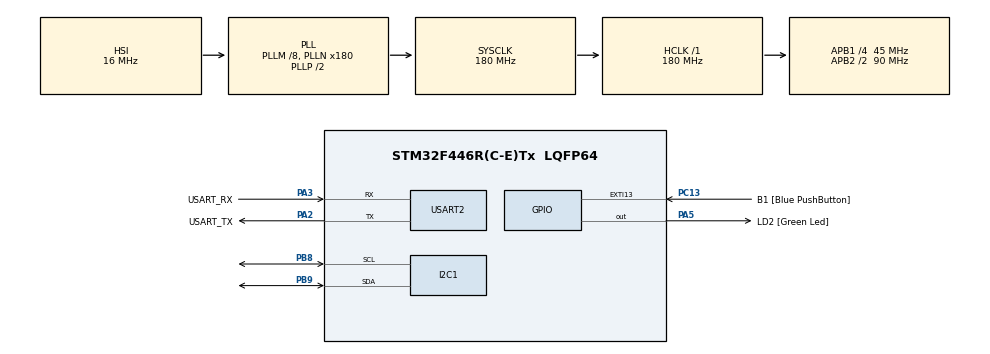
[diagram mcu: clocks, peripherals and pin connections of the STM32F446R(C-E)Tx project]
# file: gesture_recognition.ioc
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Mcu.Family=STM32F4
Mcu.Name=STM32F446R(C-E)Tx
Mcu.Package=LQFP64
NVIC.PriorityGroup=NVIC_PRIORITYGROUP_0
PA13.GPIO_Label=TMS
PA13.Mode=Serial_Wire
PA13.Signal=SYS_JTMS-SWDIO
PA14.GPIO_Label=TCK
PA14.Mode=Serial_Wire
PA14.Signal=SYS_JTCK-SWCLK
PA2.GPIO_Label=USART_TX
PA2.Mode=Asynchronous
PA2.Signal=USART2_TX
PA3.GPIO_Label=USART_RX
PA3.Mode=Asynchronous
PA3.Signal=USART2_RX
PA5.GPIO_Label=LD2 [Green Led]
PA5.Signal=GPIO_Output
PB3.GPIO_Label=SWO
PB3.Signal=SYS_JTDO-SWO
PB8.Mode=I2C
PB8.Signal=I2C1_SCL
PB9.Mode=I2C
PB9.Signal=I2C1_SDA
PC13.GPIO_Label=B1 [Blue PushButton]
PC13.GPIO_ModeDefaultEXTI=GPIO_MODE_IT_FALLING
PC13.Signal=GPXTI13
PC14-OSC32_IN.Mode=LSE-External-Oscillator
PC14-OSC32_IN.Signal=RCC_OSC32_IN
PC15-OSC32_OUT.Mode=LSE-External-Oscillator
PC15-OSC32_OUT.Signal=RCC_OSC32_OUT
PH0-OSC_IN.Mode=HSE-External-Oscillator
PH0-OSC_IN.Signal=RCC_OSC_IN
PH1-OSC_OUT.Mode=HSE-External-Oscillator
PH1-OSC_OUT.Signal=RCC_OSC_OUT
ProjectManager.HeapSize=0x800
ProjectManager.StackSize=0x800
ProjectManager.TargetToolchain=STM32CubeIDE
RCC.48MHZClocksFreq_Value=84000000
RCC.AHBFreq_Value=180000000
RCC.APB1CLKDivider=RCC_HCLK_DIV4
RCC.APB1Freq_Value=45000000
RCC.APB1TimFreq_Value=90000000
RCC.APB2CLKDivider=RCC_HCLK_DIV2
RCC.APB2Freq_Value=90000000
RCC.APB2TimFreq_Value=180000000
RCC.CortexFreq_Value=180000000
RCC.FLatency-AdvancedSettings=FLASH_LATENCY_5
RCC.HCLKFreq_Value=180000000
RCC.HSE_VALUE=8000000
RCC.HSI_VALUE=16000000
RCC.PLLM=8
RCC.PLLN=180
RCC.PLLP=2
RCC.SYSCLKFreq_VALUE=180000000
RCC.SYSCLKSource=RCC_SYSCLKSOURCE_PLLCLK
RCC.USBFreq_Value=180000000
RCC.VCOOutputFreq_Value=360000000
STMicroelectronics.X-CUBE-AI.10.1.0.ActivationBufferSizeList=19736
STMicroelectronics.X-CUBE-AI.10.1.0.ActivationBuffers=pool0
STMicroelectronics.X-CUBE-AI.10.1.0.ActivationNames=pool0
STMicroelectronics.X-CUBE-AI.10.1.0.ActivationSizes=AI_GESTURE_DATA_ACTIVATION_1_SIZE
STMicroelectronics.X-CUBE-AI.10.1.0.HeapSize=0x800
STMicroelectronics.X-CUBE-AI.10.1.0.InternalRamActivationBufferMaxSize=AI_GESTURE_DATA_ACTIVATIONS_SIZE
STMicroelectronics.X-CUBE-AI.10.1.0.LatestDirectoryUsed-5c917a937169decd265ed04026a5e16f269bac281c2936fda5729b337dda7706=C\:\\Users\\Maria\\Desktop\\datasets
STMicroelectronics.X-CUBE-AI.10.1.0.MaximumNumberOfInputLayer=1
STMicroelectronics.X-CUBE-AI.10.1.0.MaximumNumberOfOutputLayer=1
STMicroelectronics.X-CUBE-AI.10.1.0.MaximumSizeOfInputLayer=1
STMicroelectronics.X-CUBE-AI.10.1.0.MaximumSizeOfOutputLayer=1
STMicroelectronics.X-CUBE-AI.10.1.0.ModelActualCompression-5c917a937169decd265ed04026a5e16f269bac281c2936fda5729b337dda7706=0.0
STMicroelectronics.X-CUBE-AI.10.1.0.ModelCompression-5c917a937169decd265ed04026a5e16f269bac281c2936fda5729b337dda7706=High
STMicroelectronics.X-CUBE-AI.10.1.0.ModelFlashOccupation-5c917a937169decd265ed04026a5e16f269bac281c2936fda5729b337dda7706=270268
STMicroelectronics.X-CUBE-AI.10.1.0.ModelHashList=5c917a937169decd265ed04026a5e16f269bac281c2936fda5729b337dda7706
STMicroelectronics.X-CUBE-AI.10.1.0.ModelKind-5c917a937169decd265ed04026a5e16f269bac281c2936fda5729b337dda7706=TFLITE
STMicroelectronics.X-CUBE-AI.10.1.0.ModelMacc-5c917a937169decd265ed04026a5e16f269bac281c2936fda5729b337dda7706=1068240
STMicroelectronics.X-CUBE-AI.10.1.0.ModelName-5c917a937169decd265ed04026a5e16f269bac281c2936fda5729b337dda7706=gesture
STMicroelectronics.X-CUBE-AI.10.1.0.ModelName-bb4085319f49e8e8c2e08a9e334305b9258747b610665fc9e314a9e2cb993c11=network
STMicroelectronics.X-CUBE-AI.10.1.0.ModelNameList=gesture
STMicroelectronics.X-CUBE-AI.10.1.0.ModelRamOccupation-5c917a937169decd265ed04026a5e16f269bac281c2936fda5729b337dda7706=19736
STMicroelectronics.X-CUBE-AI.10.1.0.ModelStructureFile-5c917a937169decd265ed04026a5e16f269bac281c2936fda5729b337dda7706=C\:\\Users\\Maria\\Desktop\\datasets\\digits_model_5_types_20250626_215648.tflite
STMicroelectronics.X-CUBE-AI.10.1.0.ModelType-5c917a937169decd265ed04026a5e16f269bac281c2936fda5729b337dda7706=STM32Cube.AI MCU runtime
STMicroelectronics.X-CUBE-AI.10.1.0.ReadyForCodeGeneration=false
STMicroelectronics.X-CUBE-AI.10.1.0.StackSize=0x800
STMicroelectronics.X-CUBE-AI.10.1.0.WorkingBufferStartAddrList=0xFFFFFFFF
STMicroelectronics.X-CUBE-AI.10.1.0.XAaCUBEAaAICcArtificialOoIntelligenceJjCore=true
STMicroelectronics.X-CUBE-AI.10.1.0.copyWeightToRam=false
STMicroelectronics.X-CUBE-AI.10.1.0.copyWeightToRam-5c917a937169decd265ed04026a5e16f269bac281c2936fda5729b337dda7706=false
STMicroelectronics.X-CUBE-AI.10.1.0.customLayerConfigEnabled=false
STMicroelectronics.X-CUBE-AI.10.1.0.customLayerConfigEnabled-5c917a937169decd265ed04026a5e16f269bac281c2936fda5729b337dda7706=false
STMicroelectronics.X-CUBE-AI.10.1.0.noOnnxIoTranspose=false
STMicroelectronics.X-CUBE-AI.10.1.0.noOnnxIoTranspose-5c917a937169decd265ed04026a5e16f269bac281c2936fda5729b337dda7706=false
STMicroelectronics.X-CUBE-AI.10.1.0.optimization=ram
STMicroelectronics.X-CUBE-AI.10.1.0.useInputAllocation=true
STMicroelectronics.X-CUBE-AI.10.1.0.useInputAllocation-5c917a937169decd265ed04026a5e16f269bac281c2936fda5729b337dda7706=true
STMicroelectronics.X-CUBE-AI.10.1.0.useOutputAllocation=true
STMicroelectronics.X-CUBE-AI.10.1.0.useOutputAllocation-5c917a937169decd265ed04026a5e16f269bac281c2936fda5729b337dda7706=true
USART2.VirtualMode=VM_ASYNC
VP_STMicroelectronics.X-CUBE-AI_VS_ArtificialOoIntelligenceJjXAaCUBEAaAI_10.1.0.Mode=ArtificialOoIntelligenceJjXAaCUBEAaAI
board=NUCLEO-F446RE

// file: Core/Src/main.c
/* USER CODE BEGIN Header */
/**
  ******************************************************************************
  * @file           : main.c
  * @brief          : Main program body
  ******************************************************************************
  * @attention
  *
  * Copyright (c) 2025 STMicroelectronics.
  * All rights reserved.
  *
  * This software is licensed under terms that can be found in the LICENSE file
  * in the root directory of this software component.
  * If no LICENSE file comes with this software, it is provided AS-IS.
  *
  ******************************************************************************
  */
/* USER CODE END Header */
#include "main.h"
#include "i2c.h"
#include "usart.h"
#include "gpio.h"

/* USER CODE BEGIN Includes */
#include "stdio.h"
#include "stdint.h"
#include "math.h"
#include <string.h>

#include "gesture.h"
#include "gesture_data.h"

/* USER CODE END Includes */

/* USER CODE BEGIN PD */
#define MPU6050_ADDR 0xD0
// MPU6050 registers.
#define MPU6050_WHO_AM_I 0x75
#define MPU6050_PWR_MGMT_1 0x6B
#define MPU6050_SMPRT_DIV 0x19
#define MPU6050_CONFIG 0x1A
#define MPU6050_GYRO_CONFIG 0x1B
#define MPU6050_ACC_CONFIG 0x1C
#define MPU6050_ACC_READ 0x3B
#define MPU6050_GYRO_READ 0x43
#define MPU6050_GYRO_SELF_TEST 0x0D
#define CALIBRATION_SAMPLES 1000

#define ACC_MAX 2
#define ACC_MIN -2
#define GYRO_MAX 250
#define GYRO_MIN -250

#define DATA_ROWS 40
#define DATA_COLS 6
/* USER CODE END PD */

/* USER CODE BEGIN PV */
int16_t acc_x_raw, acc_y_raw, acc_z_raw;
int16_t gyro_x_raw, gyro_y_raw, gyro_z_raw;

int16_t acc_x_offset = 0, acc_y_offset = 0, acc_z_offset = 0;
int16_t gyro_x_offset = 0, gyro_y_offset = 0, gyro_z_offset = 0;

float acc_x, acc_y, acc_z;
float gyro_x, gyro_y, gyro_z;

float acc_lsb = 16384.0;
float gyro_lsb = 131.0;

static ai_handle gesture = AI_HANDLE_NULL;
AI_ALIGNED(32)
static ai_u8 activations [AI_GESTURE_DATA_ACTIVATIONS_SIZE];
AI_ALIGNED(32)
static ai_float in_data[1][DATA_ROWS][DATA_COLS];
AI_ALIGNED(32)
static ai_float out_data [AI_GESTURE_OUT_1_SIZE];
static ai_buffer *ai_input;
static ai_buffer *ai_output ;

/* USER CODE END PV */

void SystemClock_Config(void);
/* USER CODE BEGIN PFP */
void MPU6050_Init(void);
void MPU6050_Reset(void);
void MPU6050_Calibrate(void);
void MPU6050_ReadAcc(void);
void MPU6050_ReadGyro(void);
int ReadButton(void);
float MinMaxScaler_Acc(float val);
float MinMaxScaler_Gyro(float val);
void Shift_Data(float data[1][DATA_ROWS][DATA_COLS], float newData[DATA_COLS]);
void Display_Data(float data[DATA_ROWS][DATA_COLS]);
int AI_Init(void);
int AI_Run(const void *in_data, void *out_data);
void Gather_Data(void);
/* USER CODE END PFP */

/* USER CODE BEGIN 0 */
int __io_putchar(int ch)
{
	ITM_SendChar(ch);
	return(ch);
}
/* USER CODE END 0 */

int main(void)
{

  /* MCU Configuration--------------------------------------------------------*/

  /* Reset of all peripherals, Initializes the Flash interface and the Systick. */
  HAL_Init();

  /* Configure the system clock */
  SystemClock_Config();

  /* Initialize all configured peripherals */
  MX_GPIO_Init();
  MX_USART2_UART_Init();
  MX_I2C1_Init();
  /* USER CODE BEGIN 2 */
  MPU6050_Init();
  /* USER CODE END 2 */

  /* Infinite loop */
  /* USER CODE BEGIN WHILE */
  MPU6050_Calibrate();
  Gather_Data();
  if(AI_Init() != 0)
  {
	  printf("Failed to initialize AI model.\n");
	  while(1);
  }

  int counter = 0;
  printf("get ready!\n");
  HAL_Delay(5000);
  while (1)
  {
    /* USER CODE END WHILE */

    /* USER CODE BEGIN 3 */
	  if(counter%10==0){
		  uint32_t start_time = HAL_GetTick();
		  if(AI_Run(in_data, out_data) != 0)
		  {
			  printf("Inference failed.\n");
		  }
		  uint32_t end_time = HAL_GetTick();
		  printf("Inference time: %lu ms\n", end_time-start_time);
		  float *prediction = out_data;
		  float max = prediction[0];
		  int idx = 0;
		  for(int i = 0; i < 4; i++){
			  if(prediction[i] > max)
			  {
				  idx = i;
				  max = prediction[i];
			  }
		  }
		  printf("%d: %d\n", counter/10, idx);
	  }
	  MPU6050_ReadAcc();
	  MPU6050_ReadGyro();
	  float new_data[DATA_COLS] =
	  {
			  (ai_float)MinMaxScaler_Acc(acc_x),
			  (ai_float)MinMaxScaler_Acc(acc_y),
			  (ai_float)MinMaxScaler_Acc(acc_z),
			  (ai_float)MinMaxScaler_Gyro(gyro_x),
			  (ai_float)MinMaxScaler_Gyro(gyro_y),
			  (ai_float)MinMaxScaler_Gyro(gyro_z)

	  };
	  Shift_Data(in_data, new_data);
//	  printf("%f,%f,%f,%f,%f,%f\n", acc_x, acc_y, acc_z, gyro_x, gyro_y, gyro_z);
	  HAL_Delay(25);
	  counter++;
  }
  /* USER CODE END 3 */
}

void SystemClock_Config(void)
{
  RCC_OscInitTypeDef RCC_OscInitStruct = {0};
  RCC_ClkInitTypeDef RCC_ClkInitStruct = {0};

  /** Configure the main internal regulator output voltage
  */
  __HAL_RCC_PWR_CLK_ENABLE();
  __HAL_PWR_VOLTAGESCALING_CONFIG(PWR_REGULATOR_VOLTAGE_SCALE1);

  /** Initializes the RCC Oscillators according to the specified parameters
  * in the RCC_OscInitTypeDef structure.
  */
  RCC_OscInitStruct.OscillatorType = RCC_OSCILLATORTYPE_HSI;
  RCC_OscInitStruct.HSIState = RCC_HSI_ON;
  RCC_OscInitStruct.HSICalibrationValue = RCC_HSICALIBRATION_DEFAULT;
  RCC_OscInitStruct.PLL.PLLState = RCC_PLL_ON;
  RCC_OscInitStruct.PLL.PLLSource = RCC_PLLSOURCE_HSI;
  RCC_OscInitStruct.PLL.PLLM = 8;
  RCC_OscInitStruct.PLL.PLLN = 180;
  RCC_OscInitStruct.PLL.PLLP = 2;
  RCC_OscInitStruct.PLL.PLLQ = 2;
  RCC_OscInitStruct.PLL.PLLR = 2;
  if (HAL_RCC_OscConfig(&RCC_OscInitStruct) != HAL_OK)
  {
    Error_Handler();
  }

  /** Activate the Over-Drive mode
  */
  if (HAL_PWREx_EnableOverDrive() != HAL_OK)
  {
    Error_Handler();
  }

  /** Initializes the CPU, AHB and APB buses clocks
  */
  RCC_ClkInitStruct.ClockType = RCC_CLOCKTYPE_HCLK|RCC_CLOCKTYPE_SYSCLK
                              |RCC_CLOCKTYPE_PCLK1|RCC_CLOCKTYPE_PCLK2;
  RCC_ClkInitStruct.SYSCLKSource = RCC_SYSCLKSOURCE_PLLCLK;
  RCC_ClkInitStruct.AHBCLKDivider = RCC_SYSCLK_DIV1;
  RCC_ClkInitStruct.APB1CLKDivider = RCC_HCLK_DIV4;
  RCC_ClkInitStruct.APB2CLKDivider = RCC_HCLK_DIV2;

  if (HAL_RCC_ClockConfig(&RCC_ClkInitStruct, FLASH_LATENCY_5) != HAL_OK)
  {
    Error_Handler();
  }
}

/* USER CODE BEGIN 4 */
void MPU6050_Init(void)
{
	HAL_StatusTypeDef status = HAL_I2C_IsDeviceReady(&hi2c1, MPU6050_ADDR, 1, 1000);
	if(status == HAL_OK)
	{
	    printf("I2C device is ready.\n");
	}
	else
	{
	    printf("Error connecting to the I2C device.\n");
	}
	uint8_t check;
	/*
	 * This register is used to verify the identity of the device.
	 * The default value of the register for MPU6050 is 0x68.
	 */
	HAL_I2C_Mem_Read (&hi2c1, MPU6050_ADDR, MPU6050_WHO_AM_I, 1, &check, 1, 1000);
	if (check == 0x68)
	{
	    printf("MPU6050 is ready!\n");
	    uint8_t Data;
	    /*
	     * PWR_MGMT_1: Wakes up MPU6050. Turns off temperature sensor.
	     * SMPRT_DIV: Specifies the divider from the gyroscope output rate used to generate the Sample Rate.
	     * Sample Rate = gyroscope Output Rate / (1 + SMPLRT_DIV). -> 8KHZ / (1 +7) = 1KHz
	     * ACC_CONFIG: Sets full scale range, triggers self test.
	     * Accelometer range set to: 2g, sensibility: 16384.
	     * gyro_CONFIG: Sets full scale range, triggers self test.
	     * gyroscope range set to: 250 °/s, sensibility 16384.
	     */
	    Data = 0b00001000;
	    HAL_I2C_Mem_Write(&hi2c1, MPU6050_ADDR, MPU6050_PWR_MGMT_1, 1, &Data, 1, 1000);
	    Data = 0x0;
	    HAL_I2C_Mem_Write(&hi2c1, MPU6050_ADDR, MPU6050_CONFIG, 1, &Data, 1, 1000);
	    Data = 0x10;
	    HAL_I2C_Mem_Write(&hi2c1, MPU6050_ADDR, MPU6050_SMPRT_DIV, 1, &Data, 1,  1000);
	    Data = 0x0;
	    HAL_I2C_Mem_Write(&hi2c1, MPU6050_ADDR, MPU6050_ACC_CONFIG, 1, &Data, 1, 1000);
	    Data = 0x0;
	    HAL_I2C_Mem_Write(&hi2c1, MPU6050_ADDR, MPU6050_GYRO_CONFIG, 1, &Data, 1, 1000);
	    HAL_Delay(300);
	}
}

void MPU6050_Calibrate(void)
{
    int32_t acc_x_sum = 0;
    int32_t acc_y_sum = 0;
    int32_t acc_z_sum = 0;

    int32_t gyro_x_sum = 0;
    int32_t gyro_y_sum = 0;
    int32_t gyro_z_sum = 0;

    for (int i = 0; i < CALIBRATION_SAMPLES; i++)
    {
        // Read acc and gyro values.
    	MPU6050_ReadAcc();
        MPU6050_ReadGyro();

        // Sum the values;
        acc_x_sum += acc_x_raw;
        acc_y_sum += acc_y_raw;
        acc_z_sum += acc_z_raw;

        gyro_x_sum += gyro_x_raw;
        gyro_y_sum += gyro_y_raw;
        gyro_z_sum += gyro_z_raw;

        HAL_Delay(10);
    }

    // Get average.
    acc_x_offset = acc_x_sum / CALIBRATION_SAMPLES;
    acc_y_offset = acc_y_sum / CALIBRATION_SAMPLES;
    acc_z_offset = acc_z_sum / CALIBRATION_SAMPLES - (int16_t)acc_lsb;

    gyro_x_offset = gyro_x_sum / CALIBRATION_SAMPLES;
    gyro_y_offset = gyro_y_sum / CALIBRATION_SAMPLES;
    gyro_z_offset = gyro_z_sum / CALIBRATION_SAMPLES;

    printf("Calibration Complete!\n");
    printf("Accelerometer Offsets: X = %d, Y = %d, Z = %d\n", acc_x_offset, acc_y_offset, acc_z_offset);
    printf("gyroscope Offsets: X = %d, Y = %d, Z = %d\n", gyro_x_offset, gyro_y_offset, gyro_z_offset);
}

void MPU6050_Reset(void) {
    uint8_t reset_command = 0x80;
    HAL_I2C_Mem_Write(&hi2c1, MPU6050_ADDR, MPU6050_PWR_MGMT_1, 1, &reset_command, 1, 1000);
    HAL_Delay(100);
}

void MPU6050_ReadAcc(void)
{
	/*
	 * Read from 6 registers all the Accel values.
	 */
	uint8_t rec_data[6];
	HAL_I2C_Mem_Read(&hi2c1, MPU6050_ADDR, MPU6050_ACC_READ, 1, rec_data, 6, 1000);

	/*
	 * Raw value is 16 bit - merge every two registers.
	 */
	 acc_x_raw = (int16_t)(rec_data[0] << 8 | rec_data[1]) - acc_x_offset;
	 acc_y_raw = (int16_t)(rec_data[2] << 8 | rec_data[3]) - acc_y_offset;
	 acc_z_raw = (int16_t)(rec_data[4] << 8 | rec_data[5]) - acc_z_offset;

	/*
	 * Normalization: raw data to degrees per second.
	 * Analog data -> digital data.
	 * LSB Sensitivity defines physical value corresponds to one unit in the digital scale. (?)
	 * Divide by the set sensibility for chosen range.
	 */
	acc_x = (float)acc_x_raw/acc_lsb;
	acc_y = (float)acc_y_raw/acc_lsb;
	acc_z = (float)acc_z_raw/acc_lsb;
}

void MPU6050_ReadGyro(void)
{
	/*
  	 * Read from 6 registers all the gyro values.
  	 */
	uint8_t rec_data[6];

	HAL_I2C_Mem_Read (&hi2c1, MPU6050_ADDR, MPU6050_GYRO_READ, 1, rec_data, 6, 1000);

	/*
	* Raw value is 16 bit - merge every two registers.
	*/
	gyro_x_raw = (int16_t)(rec_data[0] << 8 | rec_data[1]) - gyro_x_offset;
	gyro_y_raw = (int16_t)(rec_data[2] << 8 | rec_data[3]) - gyro_y_offset;
	gyro_z_raw = (int16_t)(rec_data[4] << 8 | rec_data[5]) - gyro_z_offset;;

	/*
	 * Normalization: raw data to degrees per second.
	 * Divide by the set sensibility for chosen range.
	 */
	gyro_x = (float)gyro_x_raw/gyro_lsb;
	gyro_y = (float)gyro_y_raw/gyro_lsb;
	gyro_z = (float)gyro_z_raw/gyro_lsb;
}

int ReadButton(void)
{
	int button_state = HAL_GPIO_ReadPin(B1_GPIO_Port, B1_Pin);
	return button_state;
}

float MinMaxScaler_Acc(float val)
{
return (val - ACC_MIN) / (ACC_MAX - ACC_MIN);
}

float MinMaxScaler_Gyro(float val)
{
return (val - GYRO_MIN) / (GYRO_MAX - GYRO_MIN);
}

/*Shifting data to get a new frame for the ai model.*/
void Shift_Data(float data[1][DATA_ROWS][DATA_COLS], float newData[DATA_COLS])
{
	for (int i = DATA_ROWS - 1; i > 0; i--)
	{
		memcpy(data[0][i], data[0][i - 1], DATA_COLS * sizeof(float));
	}
	memcpy(data[0][0], newData, DATA_COLS * sizeof(float));
}

void Display_Data(float data[DATA_ROWS][DATA_COLS])
{
	for (int i = 0; i < DATA_ROWS; i++)
	{
		for (int j = 0; j < DATA_COLS; j++)
		{
			printf("%f ", data[i][j]);
		}
	}
}

/*AI model functions from documentation.*/
int AI_Init(void)
    {
    ai_error err;

    /* Create and initialize the c-model */
    const ai_handle acts[] =
	{
	activations
	};
    err = ai_gesture_create_and_init(&gesture, acts, NULL);
    if (err.type != AI_ERROR_NONE)
	{
	printf("aiInit failed! type=%d code=%d\n", err.type, err.code);
	return -1;
	}

    /* Reteive pointers to the model's input/output tensors */
    ai_input = ai_gesture_inputs_get(gesture, NULL);
    ai_output = ai_gesture_outputs_get(gesture, NULL);

    return 0;
    }

int AI_Run(const void *in_data, void *out_data)
    {
    if (gesture == AI_HANDLE_NULL)
	{
	printf("Network not initialized!\n");
	return -1;
	}
    ai_i32 n_batch;
    ai_error err;

    /* 1 - Update IO handlers with the data payload */
    ai_input[0].data = AI_HANDLE_PTR(in_data);
    ai_output[0].data = AI_HANDLE_PTR(out_data);

    /* 2 - Perform the inference */
    n_batch = ai_gesture_run(gesture, &ai_input[0], &ai_output[0]);
    if (n_batch != 1)
	{
	err = ai_gesture_get_error(gesture);
	printf("AI error: type=%d code=%d\n", err.type, err.code);
	return -1;
	};

    return 0;
    }

void Gather_Data()
{
	for(int i = 0; i < DATA_ROWS; i++){
		MPU6050_ReadAcc();
		MPU6050_ReadGyro();
		in_data[0][i][0] = (ai_float)MinMaxScaler_Acc(acc_x);
		in_data[0][i][1] = (ai_float)MinMaxScaler_Acc(acc_y);
		in_data[0][i][2] = (ai_float)MinMaxScaler_Acc(acc_z);
		in_data[0][i][3] = (ai_float)MinMaxScaler_Gyro(gyro_x);
		in_data[0][i][4] = (ai_float)MinMaxScaler_Gyro(gyro_y);
		in_data[0][i][5] = (ai_float)MinMaxScaler_Gyro(gyro_z);
		HAL_Delay(25);
	}
	printf("Done gathering data.\n");
}
/* USER CODE END 4 */

void Error_Handler(void)
{
  __disable_irq();
  while (1)
  {
  }
}
